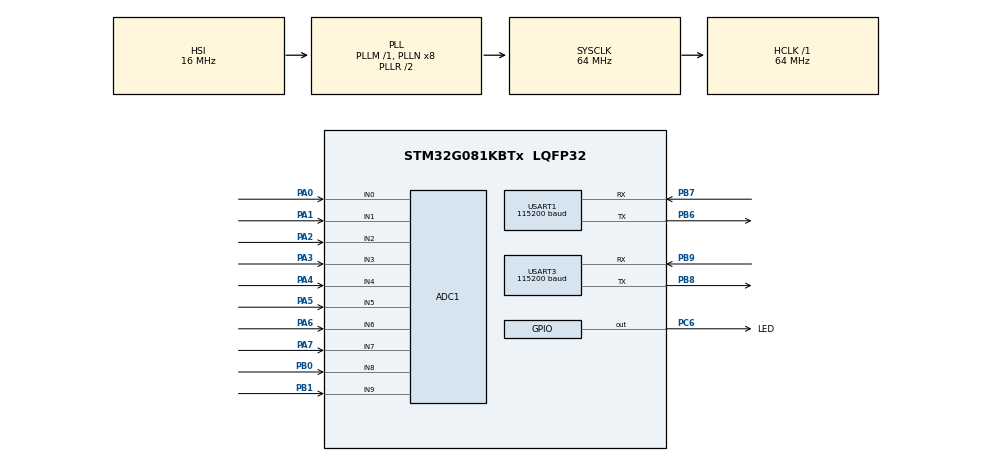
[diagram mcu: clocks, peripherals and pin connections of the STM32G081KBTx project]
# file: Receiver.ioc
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ADC1.Channel-0\#ChannelRegularConversion=ADC_CHANNEL_0
ADC1.NbrOfConversionFlag=1
ADC1.Rank-0\#ChannelRegularConversion=1
ADC1.SamplingTime-0\#ChannelRegularConversion=ADC_SAMPLINGTIME_COMMON_1
ADC1.SelectedChannel=ADC_CHANNEL_0|ADC_CHANNEL_1|ADC_CHANNEL_2|ADC_CHANNEL_3|ADC_CHANNEL_4|ADC_CHANNEL_5|ADC_CHANNEL_6|ADC_CHANNEL_7|ADC_CHANNEL_8|ADC_CHANNEL_9
ADC1.master=1
Dma.Request0=USART3_TX
Dma.Request1=USART1_TX
Dma.USART1_TX.1.Direction=DMA_MEMORY_TO_PERIPH
Dma.USART1_TX.1.EventEnable=DISABLE
Dma.USART1_TX.1.Instance=DMA1_Channel2
Dma.USART1_TX.1.MemDataAlignment=DMA_MDATAALIGN_BYTE
Dma.USART1_TX.1.MemInc=DMA_MINC_ENABLE
Dma.USART1_TX.1.Mode=DMA_NORMAL
Dma.USART1_TX.1.PeriphDataAlignment=DMA_PDATAALIGN_BYTE
Dma.USART1_TX.1.PeriphInc=DMA_PINC_DISABLE
Dma.USART1_TX.1.Polarity=HAL_DMAMUX_REQ_GEN_RISING
Dma.USART1_TX.1.Priority=DMA_PRIORITY_LOW
Dma.USART1_TX.1.RequestNumber=1
Dma.USART1_TX.1.SignalID=NONE
Dma.USART1_TX.1.SyncEnable=DISABLE
Dma.USART1_TX.1.SyncPolarity=HAL_DMAMUX_SYNC_NO_EVENT
Dma.USART1_TX.1.SyncRequestNumber=1
Dma.USART1_TX.1.SyncSignalID=NONE
Dma.USART3_TX.0.Direction=DMA_MEMORY_TO_PERIPH
Dma.USART3_TX.0.EventEnable=DISABLE
Dma.USART3_TX.0.Instance=DMA1_Channel1
Dma.USART3_TX.0.MemDataAlignment=DMA_MDATAALIGN_BYTE
Dma.USART3_TX.0.MemInc=DMA_MINC_ENABLE
Dma.USART3_TX.0.Mode=DMA_NORMAL
Dma.USART3_TX.0.PeriphDataAlignment=DMA_PDATAALIGN_BYTE
Dma.USART3_TX.0.PeriphInc=DMA_PINC_DISABLE
Dma.USART3_TX.0.Polarity=HAL_DMAMUX_REQ_GEN_RISING
Dma.USART3_TX.0.Priority=DMA_PRIORITY_LOW
Dma.USART3_TX.0.RequestNumber=1
Dma.USART3_TX.0.SignalID=NONE
Dma.USART3_TX.0.SyncEnable=DISABLE
Dma.USART3_TX.0.SyncPolarity=HAL_DMAMUX_SYNC_NO_EVENT
Dma.USART3_TX.0.SyncRequestNumber=1
Dma.USART3_TX.0.SyncSignalID=NONE
Mcu.Family=STM32G0
Mcu.Name=STM32G081KBTx
Mcu.Package=LQFP32
NVIC.DMA1_Channel1_IRQn=true\:0\:0\:false\:false\:true\:false\:true
NVIC.DMA1_Channel2_3_IRQn=true\:0\:0\:false\:false\:true\:false\:true
NVIC.USART1_IRQn=true\:0\:0\:false\:false\:true\:true\:true
NVIC.USART3_4_LPUART1_IRQn=true\:0\:0\:false\:false\:true\:true\:true
PA0.Mode=IN0
PA0.Signal=ADC1_IN0
PA1.Mode=IN1
PA1.Signal=ADC1_IN1
PA13.Mode=Serial_Wire
PA13.Signal=SYS_SWDIO
PA14-BOOT0.Mode=Serial_Wire
PA14-BOOT0.Signal=SYS_SWCLK
PA2.Mode=IN2
PA2.Signal=ADC1_IN2
PA3.Mode=IN3
PA3.Signal=ADC1_IN3
PA4.Mode=IN4
PA4.Signal=ADC1_IN4
PA5.Mode=IN5
PA5.Signal=ADC1_IN5
PA6.Mode=IN6
PA6.Signal=ADC1_IN6
PA7.Mode=IN7
PA7.Signal=ADC1_IN7
PB0.Mode=IN8
PB0.Signal=ADC1_IN8
PB1.Mode=IN9
PB1.Signal=ADC1_IN9
PB6.Mode=Asynchronous
PB6.Signal=USART1_TX
PB7.Mode=Asynchronous
PB7.Signal=USART1_RX
PB8.Mode=Asynchronous
PB8.Signal=USART3_TX
PB9.Mode=Asynchronous
PB9.Signal=USART3_RX
PC6.GPIO_Label=LED
PC6.Signal=GPIO_Output
ProjectManager.HeapSize=0x200
ProjectManager.StackSize=0x400
ProjectManager.TargetToolchain=STM32CubeIDE
RCC.ADCFreq_Value=64000000
RCC.AHBFreq_Value=64000000
RCC.CortexFreq_Value=64000000
RCC.EXTERNAL_CLOCK_VALUE=48000
RCC.HCLKFreq_Value=64000000
RCC.HSE_VALUE=8000000
RCC.HSI_VALUE=16000000
RCC.LSE_VALUE=32768
RCC.SYSCLKFreq_VALUE=64000000
RCC.SYSCLKSource=RCC_SYSCLKSOURCE_PLLCLK
RCC.TIM1CLockSelectionVirtual=RCC_TIM1CLKSOURCE_PLL
RCC.VCOOutputFreq_Value=128000000
USART1.BaudRate=115200
USART1.RxPinLevelInvertParam=ADVFEATURE_RXINV_DISABLE
USART1.TxPinLevelInvertParam=ADVFEATURE_TXINV_DISABLE
USART1.VirtualMode-Asynchronous=VM_ASYNC
USART3.BaudRate=115200
USART3.DataInvertParam=ADVFEATURE_DATAINV_DISABLE
USART3.RxPinLevelInvertParam=ADVFEATURE_RXINV_DISABLE
USART3.TxPinLevelInvertParam=ADVFEATURE_TXINV_DISABLE
USART3.VirtualMode-Asynchronous=VM_ASYNC
VP_SYS_VS_DBSignals.Mode=DisableDeadBatterySignals
board=custom

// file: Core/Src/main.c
/* USER CODE BEGIN Header */
/**
  ******************************************************************************
  * @file           : main.c
  * @brief          : Main program body
  ******************************************************************************
  * @attention
  *
  * <h2><center>&copy; Copyright (c) 2021 STMicroelectronics.
  * All rights reserved.</center></h2>
  *
  * This software component is licensed by ST under BSD 3-Clause license,
  * the "License"; You may not use this file except in compliance with the
  * License. You may obtain a copy of the License at:
  *                        opensource.org/licenses/BSD-3-Clause
  *
  ******************************************************************************
  */
/* USER CODE END Header */
#include "main.h"

/* USER CODE BEGIN Includes */
#include "config.h"
#include "uart.h"
#include "sensors.h"
/* USER CODE END Includes */

ADC_HandleTypeDef hadc1;

UART_HandleTypeDef huart1;
UART_HandleTypeDef huart3;
DMA_HandleTypeDef hdma_usart1_tx;
DMA_HandleTypeDef hdma_usart3_tx;

void SystemClock_Config(void);
static void MX_GPIO_Init(void);
static void MX_DMA_Init(void);
static void MX_USART1_UART_Init(void);
static void MX_USART3_UART_Init(void);
static void MX_ADC1_Init(void);

int main(void)
{

  /* MCU Configuration--------------------------------------------------------*/

  /* Reset of all peripherals, Initializes the Flash interface and the Systick. */
  HAL_Init();

  /* Configure the system clock */
  SystemClock_Config();

  /* Initialize all configured peripherals */
  MX_GPIO_Init();
  MX_DMA_Init();
  MX_USART1_UART_Init();
  MX_USART3_UART_Init();
  MX_ADC1_Init();
  /* USER CODE BEGIN 2 */
  receiveIT();
  uint8_t ledState = 0;
//  calibrateSensors();
  /* USER CODE END 2 */

  /* Infinite loop */
  /* USER CODE BEGIN WHILE */
  while (1)
  {
	  // Process commands as they come in
	  if (cmdReady()) {
		  abortIT();
		  processCommand();
		  receiveIT();
		  if (ledState) {
			  HAL_GPIO_WritePin(LED_GPIO_Port, LED_Pin, GPIO_PIN_RESET);
			  ledState = 0;
		  } else {
			  HAL_GPIO_WritePin(LED_GPIO_Port, LED_Pin, GPIO_PIN_SET);
			  ledState = 1;
		  }
	  }
	  // If the last board, initiate sensor updates
#if LAST_BOARD
	  HAL_Delay(50);
	  initiateSensorUpdate();
	  if (ledState) {
		  HAL_GPIO_WritePin(LED_GPIO_Port, LED_Pin, GPIO_PIN_RESET);
		  ledState = 0;
	  } else {
		  HAL_GPIO_WritePin(LED_GPIO_Port, LED_Pin, GPIO_PIN_SET);
		  ledState = 1;
	  }
#endif

    /* USER CODE END WHILE */

  }
}

void SystemClock_Config(void)
{
  RCC_OscInitTypeDef RCC_OscInitStruct = {0};
  RCC_ClkInitTypeDef RCC_ClkInitStruct = {0};
  RCC_PeriphCLKInitTypeDef PeriphClkInit = {0};

  /** Configure the main internal regulator output voltage
  */
  HAL_PWREx_ControlVoltageScaling(PWR_REGULATOR_VOLTAGE_SCALE1);
  /** Initializes the RCC Oscillators according to the specified parameters
  * in the RCC_OscInitTypeDef structure.
  */
  RCC_OscInitStruct.OscillatorType = RCC_OSCILLATORTYPE_HSI;
  RCC_OscInitStruct.HSIState = RCC_HSI_ON;
  RCC_OscInitStruct.HSIDiv = RCC_HSI_DIV1;
  RCC_OscInitStruct.HSICalibrationValue = RCC_HSICALIBRATION_DEFAULT;
  RCC_OscInitStruct.PLL.PLLState = RCC_PLL_ON;
  RCC_OscInitStruct.PLL.PLLSource = RCC_PLLSOURCE_HSI;
  RCC_OscInitStruct.PLL.PLLM = RCC_PLLM_DIV1;
  RCC_OscInitStruct.PLL.PLLN = 8;
  RCC_OscInitStruct.PLL.PLLP = RCC_PLLP_DIV2;
  RCC_OscInitStruct.PLL.PLLQ = RCC_PLLQ_DIV2;
  RCC_OscInitStruct.PLL.PLLR = RCC_PLLR_DIV2;
  if (HAL_RCC_OscConfig(&RCC_OscInitStruct) != HAL_OK)
  {
    Error_Handler();
  }
  /** Initializes the CPU, AHB and APB buses clocks
  */
  RCC_ClkInitStruct.ClockType = RCC_CLOCKTYPE_HCLK|RCC_CLOCKTYPE_SYSCLK
                              |RCC_CLOCKTYPE_PCLK1;
  RCC_ClkInitStruct.SYSCLKSource = RCC_SYSCLKSOURCE_PLLCLK;
  RCC_ClkInitStruct.AHBCLKDivider = RCC_SYSCLK_DIV1;
  RCC_ClkInitStruct.APB1CLKDivider = RCC_HCLK_DIV1;

  if (HAL_RCC_ClockConfig(&RCC_ClkInitStruct, FLASH_LATENCY_2) != HAL_OK)
  {
    Error_Handler();
  }
  /** Initializes the peripherals clocks
  */
  PeriphClkInit.PeriphClockSelection = RCC_PERIPHCLK_USART1|RCC_PERIPHCLK_ADC;
  PeriphClkInit.Usart1ClockSelection = RCC_USART1CLKSOURCE_PCLK1;
  PeriphClkInit.AdcClockSelection = RCC_ADCCLKSOURCE_SYSCLK;
  if (HAL_RCCEx_PeriphCLKConfig(&PeriphClkInit) != HAL_OK)
  {
    Error_Handler();
  }
}

static void MX_ADC1_Init(void)
{

  ADC_ChannelConfTypeDef sConfig = {0};

  /** Configure the global features of the ADC (Clock, Resolution, Data Alignment and number of conversion)
  */
  hadc1.Instance = ADC1;
  hadc1.Init.ClockPrescaler = ADC_CLOCK_SYNC_PCLK_DIV2;
  hadc1.Init.Resolution = ADC_RESOLUTION_12B;
  hadc1.Init.DataAlign = ADC_DATAALIGN_RIGHT;
  hadc1.Init.ScanConvMode = ADC_SCAN_DISABLE;
  hadc1.Init.EOCSelection = ADC_EOC_SINGLE_CONV;
  hadc1.Init.LowPowerAutoWait = DISABLE;
  hadc1.Init.LowPowerAutoPowerOff = DISABLE;
  hadc1.Init.ContinuousConvMode = DISABLE;
  hadc1.Init.NbrOfConversion = 1;
  hadc1.Init.DiscontinuousConvMode = DISABLE;
  hadc1.Init.ExternalTrigConv = ADC_SOFTWARE_START;
  hadc1.Init.ExternalTrigConvEdge = ADC_EXTERNALTRIGCONVEDGE_NONE;
  hadc1.Init.DMAContinuousRequests = DISABLE;
  hadc1.Init.Overrun = ADC_OVR_DATA_PRESERVED;
  hadc1.Init.SamplingTimeCommon1 = ADC_SAMPLETIME_1CYCLE_5;
  hadc1.Init.SamplingTimeCommon2 = ADC_SAMPLETIME_1CYCLE_5;
  hadc1.Init.OversamplingMode = DISABLE;
  hadc1.Init.TriggerFrequencyMode = ADC_TRIGGER_FREQ_HIGH;
  if (HAL_ADC_Init(&hadc1) != HAL_OK)
  {
    Error_Handler();
  }
  /** Configure Regular Channel
  */
  sConfig.Channel = ADC_CHANNEL_0;
  sConfig.Rank = ADC_REGULAR_RANK_1;
  sConfig.SamplingTime = ADC_SAMPLINGTIME_COMMON_1;
  if (HAL_ADC_ConfigChannel(&hadc1, &sConfig) != HAL_OK)
  {
    Error_Handler();
  }

}

static void MX_USART1_UART_Init(void)
{

  huart1.Instance = USART1;
  huart1.Init.BaudRate = 115200;
  huart1.Init.WordLength = UART_WORDLENGTH_8B;
  huart1.Init.StopBits = UART_STOPBITS_1;
  huart1.Init.Parity = UART_PARITY_NONE;
  huart1.Init.Mode = UART_MODE_TX_RX;
  huart1.Init.HwFlowCtl = UART_HWCONTROL_NONE;
  huart1.Init.OverSampling = UART_OVERSAMPLING_16;
  huart1.Init.OneBitSampling = UART_ONE_BIT_SAMPLE_DISABLE;
  huart1.Init.ClockPrescaler = UART_PRESCALER_DIV1;
  huart1.AdvancedInit.AdvFeatureInit = UART_ADVFEATURE_NO_INIT;
  if (HAL_UART_Init(&huart1) != HAL_OK)
  {
    Error_Handler();
  }
  if (HAL_UARTEx_SetTxFifoThreshold(&huart1, UART_TXFIFO_THRESHOLD_1_8) != HAL_OK)
  {
    Error_Handler();
  }
  if (HAL_UARTEx_SetRxFifoThreshold(&huart1, UART_RXFIFO_THRESHOLD_1_8) != HAL_OK)
  {
    Error_Handler();
  }
  if (HAL_UARTEx_DisableFifoMode(&huart1) != HAL_OK)
  {
    Error_Handler();
  }

}

static void MX_USART3_UART_Init(void)
{

  huart3.Instance = USART3;
  huart3.Init.BaudRate = 115200;
  huart3.Init.WordLength = UART_WORDLENGTH_8B;
  huart3.Init.StopBits = UART_STOPBITS_1;
  huart3.Init.Parity = UART_PARITY_NONE;
  huart3.Init.Mode = UART_MODE_TX_RX;
  huart3.Init.HwFlowCtl = UART_HWCONTROL_NONE;
  huart3.Init.OverSampling = UART_OVERSAMPLING_16;
  huart3.Init.OneBitSampling = UART_ONE_BIT_SAMPLE_DISABLE;
  huart3.Init.ClockPrescaler = UART_PRESCALER_DIV1;
  huart3.AdvancedInit.AdvFeatureInit = UART_ADVFEATURE_NO_INIT;
  if (HAL_UART_Init(&huart3) != HAL_OK)
  {
    Error_Handler();
  }

}

static void MX_DMA_Init(void)
{

  /* DMA controller clock enable */
  __HAL_RCC_DMA1_CLK_ENABLE();

  /* DMA interrupt init */
  /* DMA1_Channel1_IRQn interrupt configuration */
  HAL_NVIC_SetPriority(DMA1_Channel1_IRQn, 0, 0);
  HAL_NVIC_EnableIRQ(DMA1_Channel1_IRQn);
  /* DMA1_Channel2_3_IRQn interrupt configuration */
  HAL_NVIC_SetPriority(DMA1_Channel2_3_IRQn, 0, 0);
  HAL_NVIC_EnableIRQ(DMA1_Channel2_3_IRQn);

}

static void MX_GPIO_Init(void)
{
  GPIO_InitTypeDef GPIO_InitStruct = {0};

  /* GPIO Ports Clock Enable */
  __HAL_RCC_GPIOB_CLK_ENABLE();
  __HAL_RCC_GPIOA_CLK_ENABLE();
  __HAL_RCC_GPIOC_CLK_ENABLE();

  /*Configure GPIO pin Output Level */
  HAL_GPIO_WritePin(LED_GPIO_Port, LED_Pin, GPIO_PIN_RESET);

  /*Configure GPIO pin : LED_Pin */
  GPIO_InitStruct.Pin = LED_Pin;
  GPIO_InitStruct.Mode = GPIO_MODE_OUTPUT_PP;
  GPIO_InitStruct.Pull = GPIO_NOPULL;
  GPIO_InitStruct.Speed = GPIO_SPEED_FREQ_LOW;
  HAL_GPIO_Init(LED_GPIO_Port, &GPIO_InitStruct);

}

/* USER CODE BEGIN 4 */
ADC_HandleTypeDef* getADCPtr() {
	return &hadc1;
}
UART_HandleTypeDef* getUFP() {
	return &huart1;
}
UART_HandleTypeDef* getDFP() {
	return &huart3;
}
/* USER CODE END 4 */

void Error_Handler(void)
{
  __disable_irq();
  while (1)
  {
  }
}

/************************ (C) COPYRIGHT STMicroelectronics *****END OF FILE****/
